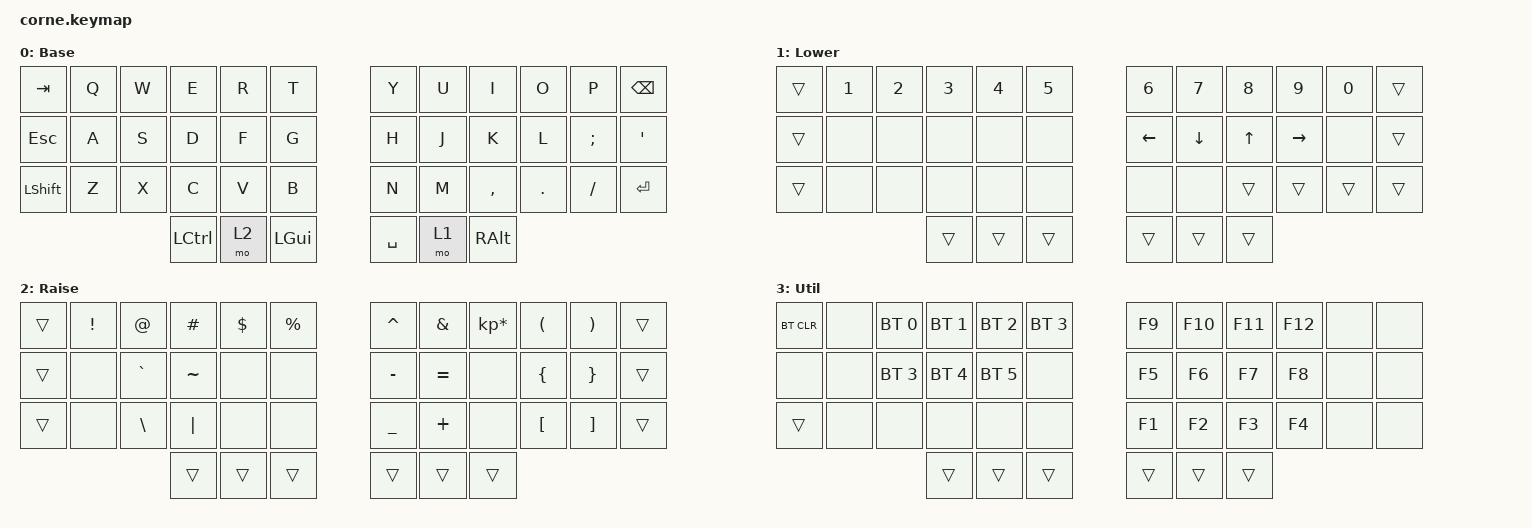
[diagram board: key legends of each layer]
/*
 * Copyright (c) 2020 The ZMK Contributors
 *
 * SPDX-License-Identifier: MIT
 */

#include <behaviors.dtsi>
#include <dt-bindings/zmk/bt.h>
#include <dt-bindings/zmk/keys.h>

/ {
    keymap {
        compatible = "zmk,keymap";

        default_layer {
            // -----------------------------------------------------------------------------------------
            // |  TAB |  Q  |  W  |  E   |  R  |  T  |   |  Y  |  U   |  I  |  O  |  P  | BKSP |
            // |  ESC |  A  |  S  |  D   |  F  |  G  |   |  H  |  J   |  K  |  L  |  ;  |  '   |
            // | SHFT |  Z  |  X  |  C   |  V  |  B  |   |  N  |  M   |  ,  |  .  |  /  | ENT  |
            //                    | CTRL | LWR | GUI |   | SPC | RSE  | ALT |

            display-name = "Base";
            bindings = <
&kp TAB    &kp Q  &kp W  &kp E      &kp R  &kp T       &kp Y      &kp U  &kp I      &kp O    &kp P     &kp BSPC
&kp ESC    &kp A  &kp S  &kp D      &kp F  &kp G       &kp H      &kp J  &kp K      &kp L    &kp SEMI  &kp SQT
&kp LSHFT  &kp Z  &kp X  &kp C      &kp V  &kp B       &kp N      &kp M  &kp COMMA  &kp DOT  &kp FSLH  &kp RET
                         &kp LCTRL  &mo 2  &kp LGUI    &kp SPACE  &mo 1  &kp RALT
            >;
        };

        lower_layer {
            // -----------------------------------------------------------------------------------------
            // |  TAB |  1  |  2  |  3   |  4  |  5  |   |  6  |  7  |  8  |  9  |  0  | BKSP |
            // |  ESC |     |     |      |     |     |   | LFT | DWN |  UP | RGT |     |  '   |
            // | SHFT |     |     |      |     |     |   |     |     |     |     |     | ENT  |
            //                    | CTRL | LWR | GUI |   | SPC | RSE | ALT |

            display-name = "Lower";
            bindings = <
&trans  &kp N1  &kp N2  &kp N3  &kp N4  &kp N5    &kp N6    &kp N7    &kp N8  &kp N9     &kp N0  &trans
&trans  &none   &none   &none   &none   &none     &kp LEFT  &kp DOWN  &kp UP  &kp RIGHT  &none   &trans
&trans  &none   &none   &none   &none   &none     &none     &none     &trans  &trans     &trans  &trans
                        &trans  &trans  &trans    &trans    &trans    &trans
            >;
        };

        raise_layer {
            // -----------------------------------------------------------------------------------------
            // |  TAB |  !  |  @  |  #   |  $  |  %  |   |  ^  |  &  |  *  |  (  |  )  | BKSP |
            // |  ESC |     |  `  |  ~   |     |     |   |  -  |  =  |     |  {  |  }  |  '   |
            // | SHFT |     |  \  | "|"  |     |     |   |  _  |  +  |     |  [  |  ]  | ENT  |
            //                    | CTRL | LWR | GUI |   | SPC | RSE | ALT |

            display-name = "Raise";
            bindings = <
&trans  &kp EXCL  &kp AT     &kp HASH   &kp DLLR  &kp PRCNT    &kp CARET  &kp AMPS   &kp KP_MULTIPLY  &kp LPAR  &kp RPAR  &trans
&trans  &none     &kp GRAVE  &kp TILDE  &none     &none        &kp MINUS  &kp EQUAL  &none            &kp LBRC  &kp RBRC  &trans
&trans  &none     &kp BSLH   &kp PIPE   &none     &none        &kp UNDER  &kp PLUS   &none            &kp LBKT  &kp RBKT  &trans
                             &trans     &trans    &trans       &trans     &trans     &trans
            >;
        };

        util_layer {
            // -----------------------------------------------------------------------------------------
            // | BTCLR|     | BT1 | BT2  | BT3 |     |   |  F9 | F10 | F11 | F12 |     |      |
            // |      |     | BT4 | BT5  | BT6 |     |   |  F5 |  F6 |  F7 |  F8 |     |      |
            // | SHFT |     |     |      |     |     |   |  F1 |  F2 |  F3 |  F4 |     |      |
            //                    | CTRL | LWR | GUI |   | SPC | RSE | ALT |

            display-name = "Util";
            bindings = <
&bt BT_CLR  &none  &bt BT_SEL 0  &bt BT_SEL 1  &bt BT_SEL 2  &bt BT_SEL 3    &kp F9  &kp F10  &kp F11  &kp F12  &none  &none
&none       &none  &bt BT_SEL 3  &bt BT_SEL 4  &bt BT_SEL 5  &none           &kp F5  &kp F6   &kp F7   &kp F8   &none  &none
&trans      &none  &none         &none         &none         &none           &kp F1  &kp F2   &kp F3   &kp F4   &none  &none
                                 &trans        &trans        &trans          &trans  &trans   &trans
            >;
        };

	conditional_layers {
		compatible = "zmk,conditional-layers";
		tri_layer {
			if-layers = <1 2>;
			then-layer = <3>;
		};
	};

        extra_1 { status = "reserved"; };

        extra_2 { status = "reserved"; };

        extra_3 { status = "reserved"; };
    };
};
